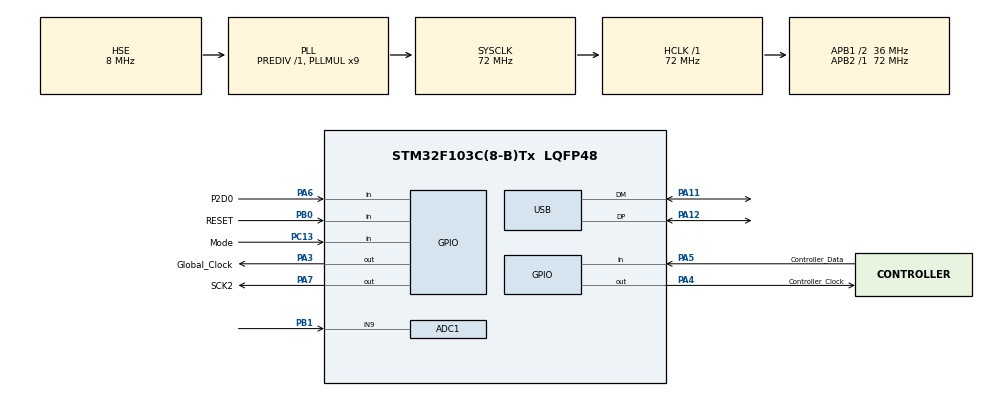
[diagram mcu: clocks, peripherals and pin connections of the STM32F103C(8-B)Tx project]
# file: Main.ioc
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ADC1.Channel-0\#ChannelRegularConversion=ADC_CHANNEL_9
ADC1.NbrOfConversionFlag=1
ADC1.Rank-0\#ChannelRegularConversion=1
ADC1.SamplingTime-0\#ChannelRegularConversion=ADC_SAMPLETIME_1CYCLE_5
ADC1.master=1
Mcu.Family=STM32F1
Mcu.Name=STM32F103C(8-B)Tx
Mcu.Package=LQFP48
NVIC.PriorityGroup=NVIC_PRIORITYGROUP_4
NVIC.USB_LP_CAN1_RX0_IRQn=true\:0\:0\:false\:false\:true\:false\:true
PA11.Mode=Device
PA11.Signal=USB_DM
PA12.Mode=Device
PA12.Signal=USB_DP
PA13.Mode=Serial_Wire
PA13.Signal=SYS_JTMS-SWDIO
PA14.Mode=Serial_Wire
PA14.Signal=SYS_JTCK-SWCLK
PA3.GPIO_Label=Global_Clock
PA3.Signal=GPIO_Output
PA4.GPIO_Label=Controller_Clock
PA4.Signal=GPIO_Output
PA5.GPIO_Label=Controller_Data
PA5.GPIO_PuPd=GPIO_PULLUP
PA5.Signal=GPIO_Input
PA6.GPIO_Label=P2D0
PA6.Signal=GPIO_Input
PA7.GPIO_Label=SCK2
PA7.Signal=GPIO_Output
PB0.GPIO_Label=RESET
PB0.GPIO_PuPd=GPIO_PULLUP
PB0.Signal=GPIO_Input
PB1.Signal=ADCx_IN9
PC13-TAMPER-RTC.GPIO_Label=Mode
PC13-TAMPER-RTC.Signal=GPIO_Input
PD0-OSC_IN.Mode=HSE-External-Oscillator
PD0-OSC_IN.Signal=RCC_OSC_IN
PD1-OSC_OUT.Mode=HSE-External-Oscillator
PD1-OSC_OUT.Signal=RCC_OSC_OUT
ProjectManager.HeapSize=0x200
ProjectManager.StackSize=0x400
ProjectManager.TargetToolchain=STM32CubeIDE
RCC.ADCPresc=RCC_ADCPCLK2_DIV6
RCC.AHBFreq_Value=72000000
RCC.APB1CLKDivider=RCC_HCLK_DIV2
RCC.APB1Freq_Value=36000000
RCC.APB1TimFreq_Value=72000000
RCC.APB2Freq_Value=72000000
RCC.APB2TimFreq_Value=72000000
RCC.HCLKFreq_Value=72000000
RCC.PLLMUL=RCC_PLL_MUL9
RCC.SYSCLKFreq_VALUE=72000000
RCC.SYSCLKSource=RCC_SYSCLKSOURCE_PLLCLK
RCC.USBFreq_Value=48000000
RCC.USBPrescaler=RCC_USBCLKSOURCE_PLL_DIV1_5
SH.ADCx_IN9.0=ADC1_IN9,IN9
USB_DEVICE.CLASS_NAME_FS=CUSTOM_HID
USB_DEVICE.MANUFACTURER_STRING=Kramer Electronics Ltd.
USB_DEVICE.PID_CUSTOMHID_FS=12352 
USB_DEVICE.PRODUCT_STRING_CUSTOMHID_FS=GameVision 50
USB_DEVICE.USBD_CUSTOM_HID_REPORT_DESC_SIZE=41
USB_DEVICE.VID=7857
USB_DEVICE.VirtualMode=CustomHid
USB_DEVICE.VirtualModeFS=Custom_Hid_FS
VP_USB_DEVICE_VS_USB_DEVICE_CUSTOM_HID_FS.Mode=CUSTOM_HID_FS
board=custom

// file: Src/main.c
/* USER CODE BEGIN Header */
/**
  ******************************************************************************
  * @file           : main.c
  * @brief          : Main program body
  ******************************************************************************
  * @attention
  *
  * <h2><center>&copy; Copyright (c) 2020 STMicroelectronics.
  * All rights reserved.</center></h2>
  *
  * This software component is licensed by ST under Ultimate Liberty license
  * SLA0044, the "License"; You may not use this file except in compliance with
  * the License. You may obtain a copy of the License at:
  *                             www.st.com/SLA0044
  *
  ******************************************************************************
  */
/* USER CODE END Header */

#include "main.h"
#include "usb_device.h"

/* USER CODE BEGIN Includes */
#include "stdbool.h"
#include "usbd_custom_hid_if.h"
extern USBD_HandleTypeDef hUsbDeviceFS;
/* USER CODE END Includes */

ADC_HandleTypeDef hadc1;

void SystemClock_Config(void);
static void MX_GPIO_Init(void);
static void MX_ADC1_Init(void);

int main(void)
{

  /* MCU Configuration--------------------------------------------------------*/

  /* Reset of all peripherals, Initializes the Flash interface and the Systick. */
  HAL_Init();

  /* Configure the system clock */
  SystemClock_Config();

  /* Initialize all configured peripherals */
  MX_GPIO_Init();
  MX_ADC1_Init();
  MX_USB_DEVICE_Init();
  /* USER CODE BEGIN 2 */

  uint16_t button_codes[8] = {
	  0b1000000010000000,
	  0b0100000001000000,
	  0b0010000000100000,
	  0b0001000000010000,
	  0b0000100000001000,
	  0b0000010000000100,
	  0b0000001000000010,
	  0b0000000100000001
  };

  struct gamepad_report_t
  {
	  uint16_t steering;
      uint16_t buttons;
  };

  bool clock_one_bit()
  {
	  bool result = HAL_GPIO_ReadPin(GPIOA, Controller_Data_Pin);
	  HAL_GPIO_WritePin(GPIOA, Controller_Clock_Pin, RESET); //-_
	  HAL_GPIO_WritePin(GPIOA, Controller_Clock_Pin, SET); //-_-
	  HAL_Delay(1);
	  return result;
  }

  uint16_t get_controller_register()
  {
	  uint16_t controller_register = 0;
	  uint8_t counter = 15;

	  //build 2 sets of 8 bits
	  for (uint8_t i = 0; i < 2; i++)
	  {
		  //global clock gets a pulse
		  HAL_GPIO_WritePin(GPIOA, Global_Clock_Pin, SET); //_-
		  HAL_GPIO_WritePin(GPIOA, Global_Clock_Pin, RESET); //_-_

		  //take a reading of first bit

		  for (uint8_t j = 0; j < 8; j++)
		  {
			  //clock out 8 bits
			  controller_register |= clock_one_bit() << counter--;
		  }
	  }
	  return ~controller_register;
  }

  //Setup default pin states for 3-pin controller

  HAL_GPIO_WritePin(GPIOA, Global_Clock_Pin, RESET);
  HAL_GPIO_WritePin(GPIOA, Controller_Clock_Pin, SET);

  /* USER CODE END 2 */

  /* Infinite loop */
  /* USER CODE BEGIN WHILE */
  while (1)
  {
	  struct gamepad_report_t gamepadReport;
	  //gamepadReport.buttons = 0;

	  HAL_ADC_Start(&hadc1);
	  HAL_ADC_PollForConversion(&hadc1, 100);

	  gamepadReport.steering = HAL_ADC_GetValue(&hadc1);

	  uint16_t controller_register = get_controller_register();
	  //gamepadReport.buttons = controller_register;

	  gamepadReport.buttons = 0;
	  for (int i = 0; i < (sizeof(button_codes) / 2); i++)
	  {
		  //gamepadReport.buttons |= 1 << i;
		  if (controller_register && controller_register & button_codes[i])
		  {
			  gamepadReport.buttons |= 1 << i;
		  }
	  }

	  //Handle "Reset" Button
	  if (HAL_GPIO_ReadPin(GPIOB, RESET_Pin) == 0)
	  {
		  gamepadReport.buttons |= 1 << 8;
	  }

	  USBD_CUSTOM_HID_SendReport(&hUsbDeviceFS, &gamepadReport, sizeof(struct gamepad_report_t));
    /* USER CODE END WHILE */

  }
}

void SystemClock_Config(void)
{
  RCC_OscInitTypeDef RCC_OscInitStruct = {0};
  RCC_ClkInitTypeDef RCC_ClkInitStruct = {0};
  RCC_PeriphCLKInitTypeDef PeriphClkInit = {0};

  /** Initializes the CPU, AHB and APB busses clocks
  */
  RCC_OscInitStruct.OscillatorType = RCC_OSCILLATORTYPE_HSE;
  RCC_OscInitStruct.HSEState = RCC_HSE_ON;
  RCC_OscInitStruct.HSEPredivValue = RCC_HSE_PREDIV_DIV1;
  RCC_OscInitStruct.HSIState = RCC_HSI_ON;
  RCC_OscInitStruct.PLL.PLLState = RCC_PLL_ON;
  RCC_OscInitStruct.PLL.PLLSource = RCC_PLLSOURCE_HSE;
  RCC_OscInitStruct.PLL.PLLMUL = RCC_PLL_MUL9;
  if (HAL_RCC_OscConfig(&RCC_OscInitStruct) != HAL_OK)
  {
    Error_Handler();
  }
  /** Initializes the CPU, AHB and APB busses clocks
  */
  RCC_ClkInitStruct.ClockType = RCC_CLOCKTYPE_HCLK|RCC_CLOCKTYPE_SYSCLK
                              |RCC_CLOCKTYPE_PCLK1|RCC_CLOCKTYPE_PCLK2;
  RCC_ClkInitStruct.SYSCLKSource = RCC_SYSCLKSOURCE_PLLCLK;
  RCC_ClkInitStruct.AHBCLKDivider = RCC_SYSCLK_DIV1;
  RCC_ClkInitStruct.APB1CLKDivider = RCC_HCLK_DIV2;
  RCC_ClkInitStruct.APB2CLKDivider = RCC_HCLK_DIV1;

  if (HAL_RCC_ClockConfig(&RCC_ClkInitStruct, FLASH_LATENCY_2) != HAL_OK)
  {
    Error_Handler();
  }
  PeriphClkInit.PeriphClockSelection = RCC_PERIPHCLK_ADC|RCC_PERIPHCLK_USB;
  PeriphClkInit.AdcClockSelection = RCC_ADCPCLK2_DIV6;
  PeriphClkInit.UsbClockSelection = RCC_USBCLKSOURCE_PLL_DIV1_5;
  if (HAL_RCCEx_PeriphCLKConfig(&PeriphClkInit) != HAL_OK)
  {
    Error_Handler();
  }
}

static void MX_ADC1_Init(void)
{

  ADC_ChannelConfTypeDef sConfig = {0};

  /** Common config
  */
  hadc1.Instance = ADC1;
  hadc1.Init.ScanConvMode = ADC_SCAN_DISABLE;
  hadc1.Init.ContinuousConvMode = DISABLE;
  hadc1.Init.DiscontinuousConvMode = DISABLE;
  hadc1.Init.ExternalTrigConv = ADC_SOFTWARE_START;
  hadc1.Init.DataAlign = ADC_DATAALIGN_RIGHT;
  hadc1.Init.NbrOfConversion = 1;
  if (HAL_ADC_Init(&hadc1) != HAL_OK)
  {
    Error_Handler();
  }
  /** Configure Regular Channel
  */
  sConfig.Channel = ADC_CHANNEL_9;
  sConfig.Rank = ADC_REGULAR_RANK_1;
  sConfig.SamplingTime = ADC_SAMPLETIME_1CYCLE_5;
  if (HAL_ADC_ConfigChannel(&hadc1, &sConfig) != HAL_OK)
  {
    Error_Handler();
  }

}

static void MX_GPIO_Init(void)
{
  GPIO_InitTypeDef GPIO_InitStruct = {0};

  /* GPIO Ports Clock Enable */
  __HAL_RCC_GPIOC_CLK_ENABLE();
  __HAL_RCC_GPIOD_CLK_ENABLE();
  __HAL_RCC_GPIOA_CLK_ENABLE();
  __HAL_RCC_GPIOB_CLK_ENABLE();

  /*Configure GPIO pin Output Level */
  HAL_GPIO_WritePin(GPIOA, Global_Clock_Pin|Controller_Clock_Pin|SCK2_Pin, GPIO_PIN_RESET);

  /*Configure GPIO pin : Mode_Pin */
  GPIO_InitStruct.Pin = Mode_Pin;
  GPIO_InitStruct.Mode = GPIO_MODE_INPUT;
  GPIO_InitStruct.Pull = GPIO_NOPULL;
  HAL_GPIO_Init(Mode_GPIO_Port, &GPIO_InitStruct);

  /*Configure GPIO pins : Global_Clock_Pin Controller_Clock_Pin SCK2_Pin */
  GPIO_InitStruct.Pin = Global_Clock_Pin|Controller_Clock_Pin|SCK2_Pin;
  GPIO_InitStruct.Mode = GPIO_MODE_OUTPUT_PP;
  GPIO_InitStruct.Pull = GPIO_NOPULL;
  GPIO_InitStruct.Speed = GPIO_SPEED_FREQ_LOW;
  HAL_GPIO_Init(GPIOA, &GPIO_InitStruct);

  /*Configure GPIO pin : Controller_Data_Pin */
  GPIO_InitStruct.Pin = Controller_Data_Pin;
  GPIO_InitStruct.Mode = GPIO_MODE_INPUT;
  GPIO_InitStruct.Pull = GPIO_PULLUP;
  HAL_GPIO_Init(Controller_Data_GPIO_Port, &GPIO_InitStruct);

  /*Configure GPIO pin : P2D0_Pin */
  GPIO_InitStruct.Pin = P2D0_Pin;
  GPIO_InitStruct.Mode = GPIO_MODE_INPUT;
  GPIO_InitStruct.Pull = GPIO_NOPULL;
  HAL_GPIO_Init(P2D0_GPIO_Port, &GPIO_InitStruct);

  /*Configure GPIO pin : RESET_Pin */
  GPIO_InitStruct.Pin = RESET_Pin;
  GPIO_InitStruct.Mode = GPIO_MODE_INPUT;
  GPIO_InitStruct.Pull = GPIO_PULLUP;
  HAL_GPIO_Init(RESET_GPIO_Port, &GPIO_InitStruct);

}

void Error_Handler(void)
{
}

/************************ (C) COPYRIGHT STMicroelectronics *****END OF FILE****/
